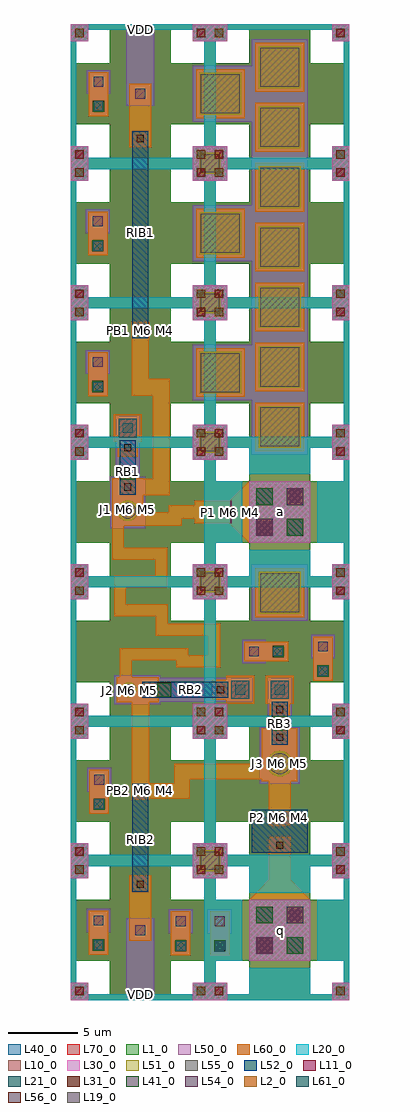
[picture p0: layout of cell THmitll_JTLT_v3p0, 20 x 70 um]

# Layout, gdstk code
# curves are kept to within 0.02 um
from math import pi, radians
import gdstk
lib = gdstk.Library(unit=1e-6, precision=1e-09)
def R(c, l, rs):  # rectangles x0, y0, x1, y1
    for r in rs: c.add(gdstk.rectangle(r[:2], r[2:], *l))
def P(c, l, *ps):  # polygons
    for p in ps: c.add(gdstk.Polygon(p, *l))
L1_0 = (1, 0)
L2_0 = (2, 0)
L10_0 = (10, 0)
L11_0 = (11, 0)
L19_0 = (19, 0)
L20_0 = (20, 0)
L21_0 = (21, 0)
L30_0 = (30, 0)
L31_0 = (31, 0)
L40_0 = (40, 0)
L41_0 = (41, 0)
L50_0 = (50, 0)
L51_0 = (51, 0)
L52_0 = (52, 0)
L54_0 = (54, 0)
L55_0 = (55, 0)
L56_0 = (56, 0)
L60_0 = (60, 0)
L61_0 = (61, 0)
L70_0 = (70, 0)

ls_tr_m7 = lib.new_cell('ls_tr_M7')
P(ls_tr_m7, L70_0, [(0,0),(0,10),(1.25,10),(1.25,8.75),(0.4,8.75),(0.4,1.25),(1.25,1.25),(1.25,0.4),(2.8,0.4),(2.8,2.8),(0.4,2.8),(0.4,7.2),(2.8,7.2),(2.8,9.6),(1.25,9.6),(1.25,10),(7.2,10),(7.2,0.4),(8.75,0.4),(8.75,1.25),(9.6,1.25),(9.6,2.8),(7.2,2.8),(7.2,7.2),(9.6,7.2),(9.6,8.75),(8.75,8.75),(8.75,9.6),(7.2,9.6),(7.2,10),(10,10),(10,0)])

ls_tr_u_m4 = lib.new_cell('ls_tr_u_M4')
P(ls_tr_u_m4, L1_0, [(0,0),(0,10),(1.25,10),(1.25,8.75),(0.4,8.75),(0.4,1.25),(1.25,1.25),(1.25,0.4),(2.8,0.4),(2.8,2.8),(0.4,2.8),(0.4,7.2),(2.8,7.2),(2.8,9.6),(1.25,9.6),(1.25,10),(7.2,10),(7.2,0.4),(8.75,0.4),(8.75,1.25),(9.6,1.25),(9.6,2.8),(7.2,2.8),(7.2,7.2),(9.6,7.2),(9.6,8.75),(8.75,8.75),(8.75,9.6),(7.2,9.6),(7.2,10),(10,10),(10,0)])
R(ls_tr_u_m4, L2_0, [(9.05,0.35,9.65,0.95), (0.35,9.05,0.95,9.65)])
R(ls_tr_u_m4, L10_0, [(0,0,1.25,1.25), (8.75,0,10,1.25), (0,8.75,1.25,10), (8.75,8.75,10,10)])
R(ls_tr_u_m4, L11_0, [(0.35,0.35,0.95,0.95), (9.05,9.05,9.65,9.65)])
P(ls_tr_u_m4, L20_0, [(0,0),(0,10),(1.25,10),(1.25,8.75),(0.4,8.75),(0.4,1.25),(1.25,1.25),(1.25,0.4),(8.75,0.4),(8.75,1.25),(9.6,1.25),(9.6,8.75),(8.75,8.75),(8.75,9.6),(1.25,9.6),(1.25,10),(10,10),(10,0)])
R(ls_tr_u_m4, L21_0, [(9.05,0.35,9.65,0.95), (0.35,9.05,0.95,9.65)])
R(ls_tr_u_m4, L30_0, [(0,0,1.25,1.25), (8.75,0,10,1.25), (0,8.75,1.25,10), (8.75,8.75,10,10)])
R(ls_tr_u_m4, L31_0, [(0.35,0.35,0.95,0.95), (9.05,9.05,9.65,9.65)])
P(ls_tr_u_m4, L40_0, [(0,0),(0,10),(1.25,10),(1.25,8.75),(0.4,8.75),(0.4,1.25),(1.25,1.25),(1.25,0.4),(2.8,0.4),(2.8,2.8),(0.4,2.8),(0.4,7.2),(2.8,7.2),(2.8,9.6),(1.25,9.6),(1.25,10),(7.2,10),(7.2,0.4),(8.75,0.4),(8.75,1.25),(9.6,1.25),(9.6,2.8),(7.2,2.8),(7.2,7.2),(9.6,7.2),(9.6,8.75),(8.75,8.75),(8.75,9.6),(7.2,9.6),(7.2,10),(10,10),(10,0)])
ls_tr_u_m4.add(gdstk.Reference(ls_tr_m7, (0,0)))

ls_tr_ptl_conn = lib.new_cell('ls_tr_PTL_conn')
P(ls_tr_ptl_conn, L1_0, [(0,0),(0,10),(1.25,10),(1.25,8.75),(0.4,8.75),(0.4,1.25),(1.25,1.25),(1.25,0.4),(2.8,0.4),(2.8,2.8),(0.4,2.8),(0.4,7.2),(2.8,7.2),(2.8,9.6),(1.25,9.6),(1.25,10),(7.2,10),(7.2,0.4),(8.75,0.4),(8.75,1.25),(9.6,1.25),(9.6,2.8),(7.2,2.8),(7.2,7.2),(9.6,7.2),(9.6,8.75),(8.75,8.75),(8.75,9.6),(7.2,9.6),(7.2,10),(10,10),(10,0)])
R(ls_tr_ptl_conn, L2_0, [(9.05,0.35,9.65,0.95), (0.35,9.05,0.95,9.65)])
R(ls_tr_ptl_conn, L10_0, [(0,0,1.25,1.25), (8.75,0,10,1.25), (2.8,2.8,7.2,7.2), (0,8.75,1.25,10), (8.75,8.75,10,10)])
R(ls_tr_ptl_conn, L11_0, [(0.35,0.35,0.95,0.95), (3.3,3.3,4.5,4.5), (5.5,5.5,6.7,6.7), (9.05,9.05,9.65,9.65)])
R(ls_tr_ptl_conn, L20_0, [(2.8,2.8,7.2,7.2)])
P(ls_tr_ptl_conn, L20_0, [(0,0),(0,10),(7.2,10),(7.2,7.7),(2.8,7.7),(2.8,9.6),(1.25,9.6),(1.25,8.75),(0.4,8.75),(0.4,7.2),(2.3,7.2),(2.3,2.8),(0.4,2.8),(0.4,1.25),(1.25,1.25),(1.25,0.4),(2.8,0.4),(2.8,2.3),(7.2,2.3),(7.2,0.4),(8.75,0.4),(8.75,1.25),(9.6,1.25),(9.6,2.8),(7.7,2.8),(7.7,7.2),(9.6,7.2),(9.6,8.75),(8.75,8.75),(8.75,9.6),(7.2,9.6),(7.2,10),(10,10),(10,0)])
R(ls_tr_ptl_conn, L21_0, [(9.05,0.35,9.65,0.95), (5.5,3.3,6.7,4.5), (3.3,5.5,4.5,6.7), (0.35,9.05,0.95,9.65)])
R(ls_tr_ptl_conn, L30_0, [(0,0,1.25,1.25), (8.75,0,10,1.25), (2.8,2.8,7.2,7.2), (0,8.75,1.25,10), (8.75,8.75,10,10)])
R(ls_tr_ptl_conn, L31_0, [(0.35,0.35,0.95,0.95), (3.3,3.3,4.5,4.5), (5.5,5.5,6.7,6.7), (9.05,9.05,9.65,9.65)])
R(ls_tr_ptl_conn, L40_0, [(2.8,2.8,7.2,7.2)])
P(ls_tr_ptl_conn, L40_0, [(0,0),(0,10),(7.2,10),(7.2,7.7),(2.8,7.7),(2.8,9.6),(1.25,9.6),(1.25,8.75),(0.4,8.75),(0.4,7.2),(2.3,7.2),(2.3,2.8),(0.4,2.8),(0.4,1.25),(1.25,1.25),(1.25,0.4),(2.8,0.4),(2.8,2.3),(7.2,2.3),(7.2,0.4),(8.75,0.4),(8.75,1.25),(9.6,1.25),(9.6,2.8),(7.7,2.8),(7.7,7.2),(9.6,7.2),(9.6,8.75),(8.75,8.75),(8.75,9.6),(7.2,9.6),(7.2,10),(10,10),(10,0)])
R(ls_tr_ptl_conn, L41_0, [(5.5,3.3,6.7,4.5), (3.3,5.5,4.5,6.7)])
R(ls_tr_ptl_conn, L50_0, [(2.8,2.8,7.2,7.2)])
R(ls_tr_ptl_conn, L54_0, [(3.3,3.3,4.5,4.5), (5.5,5.5,6.7,6.7)])
R(ls_tr_ptl_conn, L60_0, [(2.8,2.8,7.2,7.2)])
P(ls_tr_ptl_conn, L70_0, [(0,0),(0,10),(1.25,10),(1.25,8.75),(0.4,8.75),(0.4,1.25),(1.25,1.25),(1.25,0.4),(2.8,0.4),(2.8,2.8),(0.4,2.8),(0.4,7.2),(2.8,7.2),(2.8,9.6),(1.25,9.6),(1.25,10),(7.2,10),(7.2,0.4),(8.75,0.4),(8.75,1.25),(9.6,1.25),(9.6,2.8),(7.2,2.8),(7.2,7.2),(9.6,7.2),(9.6,8.75),(8.75,8.75),(8.75,9.6),(7.2,9.6),(7.2,10),(10,10),(10,0)])

ls_res_1p36 = lib.new_cell('ls_res_1p36')
R(ls_res_1p36, L52_0, [(-2,0,2,3.1)])
R(ls_res_1p36, L56_0, [(-0.26,0.29,0.26,0.81), (-0.26,2.3,0.26,2.82)])
R(ls_res_1p36, L60_0, [(-0.625,-0.1,0.625,1.175), (-0.625,1.925,0.625,3.2)])

th_jj_250_sg = lib.new_cell('th_jj_250_sg')
R(th_jj_250_sg, L41_0, [(-0.5,2.4,0.5,3.4)])
R(th_jj_250_sg, L50_0, [(-1.425,-1.425,1.425,2.625), (-0.875,2.625,0.875,6.175)])
P(th_jj_250_sg, L51_0, [(0,-0.91),(-0.18,-0.895),(-0.35,-0.84),(-0.645,-0.645),(-0.84,-0.35),(-0.91,0),(-0.895,0.18),(-0.84,0.35),(-0.645,0.645),(-0.35,0.84),(-0.18,0.895),(0,0.91),(0.18,0.895),(0.35,0.84),(0.645,0.645),(0.84,0.35),(0.895,0.18),(0.91,0),(0.84,-0.35),(0.645,-0.645),(0.35,-0.84),(0.18,-0.895)])
R(th_jj_250_sg, L52_0, [(-0.575,1.35,0.575,4.425)])
R(th_jj_250_sg, L54_0, [(-0.35,4.95,0.35,5.65)])
P(th_jj_250_sg, L55_0, [(0,-0.76),(-0.15,-0.75),(-0.29,-0.7),(-0.54,-0.54),(-0.7,-0.29),(-0.75,-0.15),(-0.76,0),(-0.75,0.15),(-0.7,0.29),(-0.54,0.54),(-0.29,0.7),(-0.15,0.75),(0,0.76),(0.15,0.75),(0.29,0.7),(0.54,0.54),(0.7,0.29),(0.75,0.15),(0.76,0),(0.75,-0.15),(0.7,-0.29),(0.54,-0.54),(0.29,-0.7),(0.15,-0.75)])
R(th_jj_250_sg, L56_0, [(-0.26,1.64,0.26,2.16), (-0.26,3.63,0.26,4.15)])
R(th_jj_250_sg, L60_0, [(-1.275,-1.275,1.275,2.525), (-0.725,3.25,0.725,6.025), (-1,4.3,1,6.3)])
R(th_jj_250_sg, L61_0, [(-0.65,4.65,0.65,5.95)])

ls_conn_m5m6 = lib.new_cell('ls_conn_M5M6')
R(ls_conn_m5m6, L50_0, [(0,0,1.7,1.7)])
R(ls_conn_m5m6, L54_0, [(0.5,0.5,1.2,1.2)])
R(ls_conn_m5m6, L60_0, [(0.15,0.15,1.55,1.55)])

ls_conn_m5m6m7 = lib.new_cell('ls_conn_M5M6M7')
R(ls_conn_m5m6m7, L60_0, [(-0.65,-0.65,1.35,1.35)])
R(ls_conn_m5m6m7, L61_0, [(-0.3,-0.3,1,1)])
R(ls_conn_m5m6m7, L70_0, [(-0.65,-0.65,1.35,1.35)])

th_jj_81_sg = lib.new_cell('th_jj_81_sg')
R(th_jj_81_sg, L41_0, [(-0.5,2.025,0.5,3.025)])
R(th_jj_81_sg, L50_0, [(-1.05,-1.05,1.05,2.225), (-0.875,2.225,0.875,8.85)])
P(th_jj_81_sg, L51_0, [(0,-0.535),(-0.205,-0.495),(-0.375,-0.38),(-0.49,-0.205),(-0.535,0),(-0.49,0.2),(-0.375,0.375),(-0.205,0.49),(0,0.53),(0.205,0.49),(0.375,0.375),(0.49,0.2),(0.535,0),(0.49,-0.205),(0.375,-0.38),(0.205,-0.495)])
R(th_jj_81_sg, L52_0, [(-0.575,0.95,0.575,7.1)])
R(th_jj_81_sg, L54_0, [(-0.35,7.625,0.35,8.325)])
P(th_jj_81_sg, L55_0, [(0,-0.38),(-0.21,-0.32),(-0.32,-0.21),(-0.39,-0.07),(-0.39,0.08),(-0.32,0.23),(-0.15,0.36),(0,0.39),(0.21,0.32),(0.32,0.23),(0.39,0.08),(0.39,-0.07),(0.27,-0.27),(0.15,-0.35)])
R(th_jj_81_sg, L56_0, [(-0.26,1.23,0.26,1.75), (-0.26,6.3,0.26,6.82)])
R(th_jj_81_sg, L60_0, [(-0.9,-0.9,0.9,2.125), (-0.725,5.925,0.725,8.7)])
th_jj_81_sg.add(gdstk.Reference(ls_conn_m5m6m7, (0.35,7.625), rotation=pi/2))

th_ib_112 = lib.new_cell('th_ib_112')
R(th_ib_112, L52_0, [(-0.575,0,0.575,14.875)])
R(th_ib_112, L56_0, [(-0.26,0.29,0.26,0.81), (-0.26,14.07,0.26,14.59)])
R(th_ib_112, L60_0, [(-0.625,-0.1,0.625,1.175), (-0.625,13.7,0.625,14.975)])

ls_conn_m4m5m6m7 = lib.new_cell('ls_conn_M4M5M6M7')
R(ls_conn_m4m5m6m7, L40_0, [(0,0,1.4,1.4)])
R(ls_conn_m4m5m6m7, L41_0, [(0.3,0.3,1.1,1.1)])
P(ls_conn_m4m5m6m7, L50_0, [(1.6,-0.15),(1.6,0),(0,0),(0,1.4),(1.6,1.4),(1.6,1.55),(3.3,1.55),(3.3,-0.15)])
R(ls_conn_m4m5m6m7, L54_0, [(2.1,0.35,2.8,1.05)])
R(ls_conn_m4m5m6m7, L60_0, [(0,0,3.15,1.4)])
R(ls_conn_m4m5m6m7, L61_0, [(0.35,0.35,1.05,1.05)])
R(ls_conn_m4m5m6m7, L70_0, [(0,0,1.4,1.4)])

ls_fakejj_1p5x1p5um = lib.new_cell('ls_FakeJJ_1p5x1p5um')
R(ls_fakejj_1p5x1p5um, L40_0, [(-1.25,-1.25,1.25,1.25)])
R(ls_fakejj_1p5x1p5um, L50_0, [(-1.25,-1.25,1.25,1.25)])
R(ls_fakejj_1p5x1p5um, L51_0, [(-0.75,-0.75,0.75,0.75)])
R(ls_fakejj_1p5x1p5um, L55_0, [(-0.65,-0.65,0.65,0.65)])
R(ls_fakejj_1p5x1p5um, L60_0, [(-1,-1,1,1)])

ls_fakejj_3x3um = lib.new_cell('ls_FakeJJ_3x3um')
R(ls_fakejj_3x3um, L40_0, [(-2,-2,2,2)])
R(ls_fakejj_3x3um, L50_0, [(-2,-2,2,2)])
R(ls_fakejj_3x3um, L51_0, [(-1.5,-1.5,1.5,1.5)])
R(ls_fakejj_3x3um, L55_0, [(-1.4,-1.4,1.4,1.4)])
R(ls_fakejj_3x3um, L60_0, [(-1.75,-1.75,1.75,1.75)])

th_jj_160_sg = lib.new_cell('th_jj_160_sg')
R(th_jj_160_sg, L41_0, [(-0.5,2.225,0.5,3.225)])
R(th_jj_160_sg, L50_0, [(-1.25,-1.25,1.25,2.425), (-0.875,2.425,0.875,6.8)])
P(th_jj_160_sg, L51_0, [(0,-0.735),(-0.28,-0.68),(-0.52,-0.52),(-0.68,-0.28),(-0.735,0),(-0.68,0.28),(-0.52,0.52),(-0.28,0.68),(0,0.735),(0.28,0.68),(0.52,0.52),(0.68,0.28),(0.735,0),(0.68,-0.28),(0.52,-0.52),(0.28,-0.68)])
R(th_jj_160_sg, L52_0, [(-0.575,1.15,0.575,5.05)])
R(th_jj_160_sg, L54_0, [(-0.35,5.575,0.35,6.275)])
P(th_jj_160_sg, L55_0, [(0,-0.58),(-0.22,-0.54),(-0.41,-0.41),(-0.54,-0.22),(-0.58,0),(-0.54,0.23),(-0.41,0.42),(-0.22,0.54),(0,0.59),(0.22,0.54),(0.41,0.42),(0.54,0.23),(0.58,0),(0.54,-0.22),(0.41,-0.41),(0.22,-0.54)])
R(th_jj_160_sg, L56_0, [(-0.26,1.43,0.26,1.95), (-0.26,4.24,0.26,4.76)])
R(th_jj_160_sg, L60_0, [(-1.1,-1.1,1.1,2.325), (-0.725,3.875,0.725,6.65), (-1,4.925,1,6.925)])
R(th_jj_160_sg, L61_0, [(-0.65,5.275,0.65,6.575)])

th_ib_239 = lib.new_cell('th_ib_239')
R(th_ib_239, L52_0, [(-0.575,0,0.575,7.775)])
R(th_ib_239, L56_0, [(-0.26,0.29,0.26,0.81), (-0.26,6.98,0.26,7.5)])
R(th_ib_239, L60_0, [(-0.625,-0.1,0.625,1.175), (-0.625,6.6,0.625,7.875)])

thmitll_jtlt_v3p0 = lib.new_cell('THmitll_JTLT_v3p0')
P(thmitll_jtlt_v3p0, L1_0, [(11.25,20.4),(11.25,21.25),(10.4,21.25),(10.4,22.8),(12.8,22.8),(12.8,20.4)],
  [(7.2,20.4),(7.2,22.8),(9.6,22.8),(9.6,21.25),(8.75,21.25),(8.75,20.4)])
R(thmitll_jtlt_v3p0, L19_0, [(14.75,12.85,15.25,13.35), (4.75,14.75,5.3,15.25), (4.8,47.75,5.3,48.25)])
P(thmitll_jtlt_v3p0, L40_0, [(11.25,20.4),(11.25,21.25),(10.4,21.25),(10.4,22.8),(12.8,22.8),(12.8,20.4)],
  [(7.2,20.4),(7.2,22.8),(9.6,22.8),(9.6,21.25),(8.75,21.25),(8.75,20.4)])
R(thmitll_jtlt_v3p0, L50_0, [(13,39.1,17,68.9), (8.75,43,13.1,47), (8.75,53,13.15,57), (8.75,63,13.15,67)])
P(thmitll_jtlt_v3p0, L60_0, [(12.8,7.2),(15,9.4),(17.2,7.2)],
  [(12.8,32.8),(10.6,35),(12.8,37.2)])
P(thmitll_jtlt_v3p0, L70_0, [(11.25,20.4),(11.25,21.25),(10.4,21.25),(10.4,22.8),(12.8,22.8),(12.8,20.4)],
  [(7.2,20.4),(7.2,22.8),(9.6,22.8),(9.6,21.25),(8.75,21.25),(8.75,20.4)])
thmitll_jtlt_v3p0.add(gdstk.FlexPath([(3.4,34.1),(3.4,32),(6.5,32),(6.5,30),(3.55,30),(3.55,27.95),(6.55,27.95),(6.55,26.55),(10.3,26.55),(10.3,24.3),(8,24.3),(8,24.8),(3.95,24.8),(3.95,22.9)], 0.85, ends="flush", simple_path=True, layer=60, datatype=0))  # L60_0
thmitll_jtlt_v3p0.add(gdstk.FlexPath([(5,21.6),(5,18),(5,18),(5,14.4)], 1.25, ends="flush", simple_path=True, layer=60, datatype=0))  # L60_0
thmitll_jtlt_v3p0.add(gdstk.FlexPath([(4.4,15),(8,15),(8,16.4),(13.8,16.4)], 1.1, ends="flush", simple_path=True, layer=60, datatype=0))  # L60_0
thmitll_jtlt_v3p0.add(gdstk.FlexPath([(5,48.65),(5,43.95),(6.5,43.95),(6.5,36.8),(4.75,36.8)], 1.2, ends="flush", simple_path=True, layer=60, datatype=0))  # L60_0
thmitll_jtlt_v3p0.add(gdstk.FlexPath([(11.5,35),(8.9,35)], 1.6, ends="flush", simple_path=True, layer=60, datatype=0))  # L60_0
thmitll_jtlt_v3p0.add(gdstk.FlexPath([(9,35),(8,35),(7.5,35),(7.5,34.5),(5.05,34.5)], 0.95, ends="flush", simple_path=True, layer=60, datatype=0))  # L60_0
thmitll_jtlt_v3p0.add(gdstk.FlexPath([(5,8.95),(5,4.25)], 1.6, ends="flush", simple_path=True, layer=60, datatype=0))  # L60_0
thmitll_jtlt_v3p0.add(gdstk.FlexPath([(15,11.7),(15,8.5)], 1.6, ends="flush", simple_path=True, layer=60, datatype=0))  # L60_0
thmitll_jtlt_v3p0.add(gdstk.FlexPath([(15,15.75),(15,12.55)], 1.6, ends="flush", simple_path=True, layer=60, datatype=0))  # L60_0
thmitll_jtlt_v3p0.add(gdstk.FlexPath([(5,65.7),(5,61.15)], 1.6, ends="flush", simple_path=True, layer=60, datatype=0))  # L60_0
thmitll_jtlt_v3p0.add(gdstk.FlexPath([(5,5.85),(5,0)], 2, ends="flush", simple_path=True, layer=50, datatype=0))  # L50_0
thmitll_jtlt_v3p0.add(gdstk.FlexPath([(5,70),(5,64.15)], 2, ends="flush", simple_path=True, layer=50, datatype=0))  # L50_0
thmitll_jtlt_v3p0.add(gdstk.FlexPath([(11.5,35.8),(11.5,34.2)], 0.1, ends="flush", simple_path=True, layer=19, datatype=0))  # L19_0
r = gdstk.Reference(ls_tr_u_m4, (0,0)); r.repetition = gdstk.Repetition(1, 7, v1=(0,0), v2=(0,10)); thmitll_jtlt_v3p0.add(r)
r = gdstk.Reference(ls_tr_u_m4, (10,40)); r.repetition = gdstk.Repetition(1, 3, v1=(0,0), v2=(0,10)); thmitll_jtlt_v3p0.add(r)
thmitll_jtlt_v3p0.add(gdstk.Reference(ls_tr_ptl_conn, (10,0)))
thmitll_jtlt_v3p0.add(gdstk.Reference(ls_res_1p36, (15,10.55)))
thmitll_jtlt_v3p0.add(gdstk.Reference(th_jj_250_sg, (15,16.95)))
thmitll_jtlt_v3p0.add(gdstk.Reference(ls_conn_m5m6, (4.15,4.15)))
thmitll_jtlt_v3p0.add(gdstk.Reference(th_jj_81_sg, (4.2,22.25), rotation=3*pi/2))
r = gdstk.Reference(ls_tr_u_m4, (10,10)); r.repetition = gdstk.Repetition(1, 2, v1=(0,0), v2=(0,10)); thmitll_jtlt_v3p0.add(r)
thmitll_jtlt_v3p0.add(gdstk.Reference(ls_tr_ptl_conn, (10,30)))
thmitll_jtlt_v3p0.add(gdstk.Reference(th_ib_112, (5,47.45)))
thmitll_jtlt_v3p0.add(gdstk.Reference(ls_conn_m5m6, (4.15,64.15)))
thmitll_jtlt_v3p0.add(gdstk.Reference(ls_conn_m4m5m6m7, (2.7,63.4), rotation=pi/2))
thmitll_jtlt_v3p0.add(gdstk.Reference(ls_conn_m4m5m6m7, (2.65,53.4), rotation=pi/2))
thmitll_jtlt_v3p0.add(gdstk.Reference(ls_conn_m4m5m6m7, (2.65,43.3), rotation=pi/2))
thmitll_jtlt_v3p0.add(gdstk.Reference(ls_conn_m4m5m6m7, (2.75,13.35), rotation=pi/2))
thmitll_jtlt_v3p0.add(gdstk.Reference(ls_conn_m4m5m6m7, (2.7,3.25), rotation=pi/2))
thmitll_jtlt_v3p0.add(gdstk.Reference(ls_conn_m4m5m6m7, (8.6,3.2), rotation=pi/2))
thmitll_jtlt_v3p0.add(gdstk.Reference(ls_conn_m4m5m6m7, (11.4,3.2), rotation=pi/2))
thmitll_jtlt_v3p0.add(gdstk.Reference(ls_fakejj_1p5x1p5um, (10,10), rotation=pi/2))
thmitll_jtlt_v3p0.add(gdstk.Reference(ls_fakejj_1p5x1p5um, (10,30), rotation=pi/2))
thmitll_jtlt_v3p0.add(gdstk.Reference(ls_fakejj_1p5x1p5um, (10,40), rotation=pi/2))
thmitll_jtlt_v3p0.add(gdstk.Reference(ls_fakejj_1p5x1p5um, (10,50), rotation=pi/2))
thmitll_jtlt_v3p0.add(gdstk.Reference(ls_fakejj_1p5x1p5um, (10,60), rotation=pi/2))
thmitll_jtlt_v3p0.add(gdstk.Reference(ls_fakejj_3x3um, (15,29.2), rotation=pi/2))
thmitll_jtlt_v3p0.add(gdstk.Reference(ls_conn_m4m5m6m7, (18.8,22.9), rotation=pi/2))
thmitll_jtlt_v3p0.add(gdstk.Reference(ls_conn_m4m5m6m7, (15.6,25.7), rotation=pi))
r = gdstk.Reference(ls_fakejj_3x3um, (15,41.1)); r.repetition = gdstk.Repetition(1, 7, v1=(0,0), v2=(0,4.3)); thmitll_jtlt_v3p0.add(r)
thmitll_jtlt_v3p0.add(gdstk.Reference(ls_fakejj_3x3um, (10.75,45)))
thmitll_jtlt_v3p0.add(gdstk.Reference(ls_fakejj_3x3um, (10.75,55)))
thmitll_jtlt_v3p0.add(gdstk.Reference(ls_fakejj_3x3um, (10.75,65)))
thmitll_jtlt_v3p0.add(gdstk.Reference(th_jj_160_sg, (4.1,35.1)))
thmitll_jtlt_v3p0.add(gdstk.Reference(th_ib_239, (5,7.75)))
thmitll_jtlt_v3p0.add(gdstk.Label('VDD', (5,69.6), layer=50, texttype=0))
thmitll_jtlt_v3p0.add(gdstk.Label('VDD', (5,0.4), layer=50, texttype=0))
thmitll_jtlt_v3p0.add(gdstk.Label('GND', (3.25,69.5), layer=40, texttype=0))
thmitll_jtlt_v3p0.add(gdstk.Label('J2 M6 M5', (4.2,22.2), layer=182, texttype=0))
thmitll_jtlt_v3p0.add(gdstk.Label('J1 M6 M5', (4.1,35.15), layer=182, texttype=0))
thmitll_jtlt_v3p0.add(gdstk.Label('P2 M6 M4', (15,13.1), layer=182, texttype=0))
thmitll_jtlt_v3p0.add(gdstk.Label('J3 M6 M5', (15,16.95), layer=182, texttype=0))
thmitll_jtlt_v3p0.add(gdstk.Label('PB2 M6 M4', (5,15), layer=182, texttype=0))
thmitll_jtlt_v3p0.add(gdstk.Label('P1 M6 M4', (11.5,35), layer=182, texttype=0))
thmitll_jtlt_v3p0.add(gdstk.Label('PB1 M6 M4', (5,48), layer=182, texttype=0))
thmitll_jtlt_v3p0.add(gdstk.Label('RB2', (8.6,22.3), layer=52, texttype=11))
thmitll_jtlt_v3p0.add(gdstk.Label('RB1', (4.1,37.9), layer=52, texttype=11))
thmitll_jtlt_v3p0.add(gdstk.Label('RD', (15,12.15), layer=52, texttype=11))
thmitll_jtlt_v3p0.add(gdstk.Label('RB3', (15,19.85), layer=52, texttype=11))
thmitll_jtlt_v3p0.add(gdstk.Label('RIB2', (5.05,11.5), layer=52, texttype=11))
thmitll_jtlt_v3p0.add(gdstk.Label('RIB1', (5,55.05), layer=52, texttype=11))
thmitll_jtlt_v3p0.add(gdstk.Label('a', (15.05,35.05), layer=60, texttype=5))
thmitll_jtlt_v3p0.add(gdstk.Label('q', (15.05,5), layer=60, texttype=5))

lib.write_gds('THmitll_JTLT_v3p0.gds')
